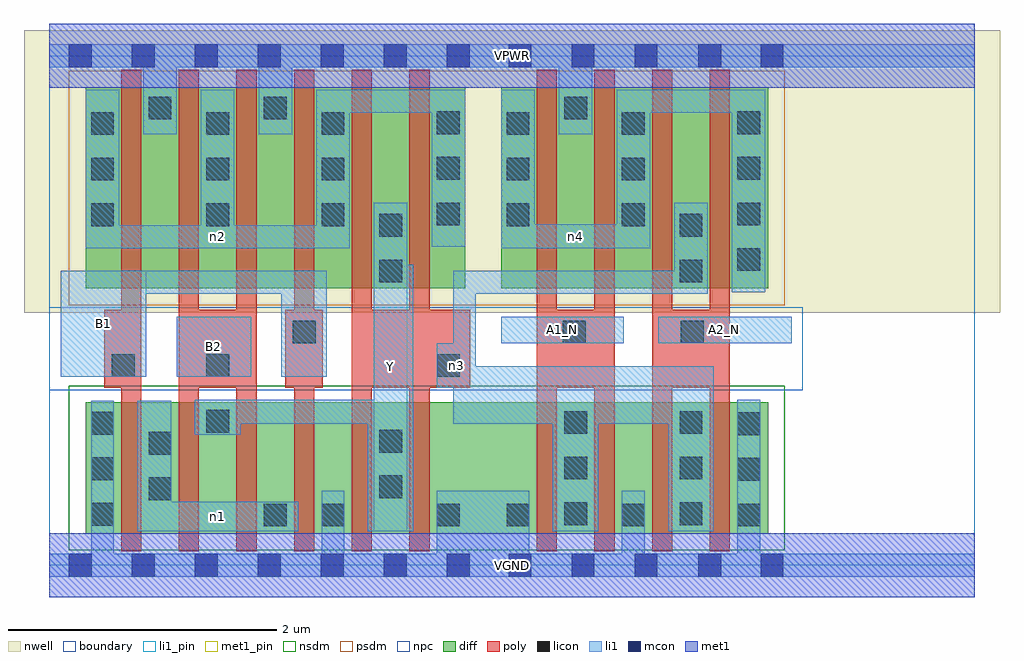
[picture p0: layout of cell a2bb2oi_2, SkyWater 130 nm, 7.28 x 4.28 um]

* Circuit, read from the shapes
.subckt a2bb2oi_2 A1_N A2_N B1 B2 VGND VPWR Y n1 n2 n3 n4
XM1 n1 B1 VGND VSUBS sky130_fd_pr__nfet_01v8 w=0.98 l=0.15 m=2
XM2 Y B2 n1 VSUBS sky130_fd_pr__nfet_01v8 w=0.98 l=0.15 m=2
XM3 Y n3 VGND VSUBS sky130_fd_pr__nfet_01v8 w=0.98 l=0.15 m=2
XM4 n3 A1_N VGND VSUBS sky130_fd_pr__nfet_01v8 w=0.98 l=0.15 m=2
XM5 n3 A2_N VGND VSUBS sky130_fd_pr__nfet_01v8 w=0.98 l=0.15 m=2
XM6 VPWR B1 n2 n5 sky130_fd_pr__pfet_01v8 w=1.5 l=0.15 m=2
XM7 n2 B2 VPWR n5 sky130_fd_pr__pfet_01v8 w=1.5 l=0.15 m=2
XM8 Y n3 n2 n5 sky130_fd_pr__pfet_01v8 w=1.5 l=0.15 m=2
XM9 VPWR A1_N n4 n5 sky130_fd_pr__pfet_01v8 w=1.5 l=0.15 m=2
XM10 n3 A2_N n4 n5 sky130_fd_pr__pfet_01v8 w=1.5 l=0.15 m=2
.ends

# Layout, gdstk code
import gdstk
lib = gdstk.Library(unit=1e-6, precision=1e-09)
def R(c, l, rs):  # rectangles x0, y0, x1, y1
    for r in rs: c.add(gdstk.rectangle(r[:2], r[2:], *l))
def A(c, l, x, y, w, h, nx, ny, dx, dy):  # array of equal rectangles
    R(c, l, [(x+i*dx, y+j*dy, x+i*dx+w, y+j*dy+h) for i in range(nx) for j in range(ny)])
nwell = (64, 20)
diff = (65, 20)
poly = (66, 20)
licon = (66, 44)
li1_pin = (67, 16)
li1 = (67, 20)
mcon = (67, 44)
met1_pin = (68, 16)
met1 = (68, 20)
nsdm = (93, 44)
psdm = (94, 20)
npc = (95, 20)
boundary = (235, 4)

a2bb2oi_2 = lib.new_cell('a2bb2oi_2')
R(a2bb2oi_2, nwell, [(-0.19,1.885,7.09,3.99), (0,1.885,6.9,3.99)])
R(a2bb2oi_2, diff, [(0.27,0.235,5.36,1.215), (0.27,2.065,3.1,3.565), (3.37,2.065,5.36,3.565)])
A(a2bb2oi_2, poly, 0.535, 0.105, 0.15, 3.59, 6, 1, 0.43, 0)
A(a2bb2oi_2, poly, 3.635, 0.105, 0.15, 3.59, 4, 1, 0.43, 0)
R(a2bb2oi_2, poly, [(0.41,1.325,0.685,1.905), (0.965,1.325,1.545,1.905), (1.76,1.325,2.04,1.905), (2.255,1.325,3.14,1.905), (3.635,1.325,4.215,1.905), (4.495,1.325,5.075,1.905)])
A(a2bb2oi_2, licon, 3.41, 0.29, 0.17, 0.17, 3, 1, 0.86, 0)
A(a2bb2oi_2, licon, 0.31, 0.295, 0.17, 0.17, 1, 3, 0, 0.34)
A(a2bb2oi_2, licon, 3.84, 0.3, 0.17, 0.17, 1, 3, 0, 0.34)
A(a2bb2oi_2, licon, 4.7, 0.3, 0.17, 0.17, 1, 3, 0, 0.34)
A(a2bb2oi_2, licon, 5.13, 2.195, 0.17, 0.17, 1, 4, 0, 0.34)
A(a2bb2oi_2, licon, 0.31, 2.53, 0.17, 0.17, 3, 3, 0.86, 0.34)
A(a2bb2oi_2, licon, 3.41, 2.53, 0.17, 0.17, 1, 3, 0, 0.34)
A(a2bb2oi_2, licon, 4.27, 2.53, 0.17, 0.17, 1, 3, 0, 0.34)
A(a2bb2oi_2, licon, 2.89, 2.535, 0.17, 0.17, 1, 3, 0, 0.34)
R(a2bb2oi_2, licon, [(1.6,0.29,1.77,0.46), (2.03,0.29,2.2,0.46), (2.89,0.29,3.06,0.46), (0.74,0.485,0.91,0.655), (2.46,0.5,2.63,0.67), (5.13,0.63,5.3,0.8), (0.74,0.825,0.91,0.995), (2.46,0.84,2.63,1.01), (5.13,0.97,5.3,1.14), (1.17,0.99,1.34,1.16), (0.465,1.405,0.635,1.575), (1.17,1.405,1.34,1.575), (2.89,1.405,3.06,1.575), (1.815,1.655,1.985,1.825), (3.83,1.655,4,1.825), (4.71,1.655,4.88,1.825), (2.46,2.11,2.63,2.28), (4.7,2.11,4.87,2.28), (2.46,2.45,2.63,2.62), (4.7,2.45,4.87,2.62), (0.74,3.325,0.91,3.495), (1.6,3.325,1.77,3.495), (3.84,3.325,4.01,3.495)])
R(a2bb2oi_2, li1_pin, [(2.42,0.255,2.67,2.705), (0.085,1.405,0.72,2.195), (0.95,1.405,1.505,1.855), (3.37,1.655,4.285,1.855), (4.54,1.655,5.535,1.855)])
A(a2bb2oi_2, li1, 0.27, 2.365, 0.25, 1.18, 3, 1, 0.86, 0)
R(a2bb2oi_2, li1, [(0,-0.085,6.9,0.085), (0.31,-0.085,0.48,1.225), (2.03,-0.085,2.2,0.555), (2.89,-0.085,3.58,0.555), (4.27,-0.085,4.44,0.555), (5.13,-0.085,5.3,1.235), (0.655,0.255,1.855,0.475), (0.655,0.255,0.91,1.225), (2.375,0.255,2.715,1.235), (2.42,0.255,2.67,2.705), (2.42,0.255,2.715,2.24), (3.755,0.255,4.095,1.485), (4.615,0.255,4.955,1.485), (1.085,0.975,1.425,1.235), (1.085,1.055,2.715,1.235), (3.01,1.055,4.955,1.485), (3.01,1.055,3.18,2.195), (2.89,1.325,3.18,1.655), (0.085,1.405,0.72,2.195), (0.95,1.405,1.505,1.855), (1.73,1.405,2.07,2.195), (3.37,1.655,4.285,1.855), (4.54,1.655,5.535,1.855), (0.085,2.025,2.07,2.195), (3.01,2.025,4.91,2.195), (4.66,2.025,4.91,2.705), (5.09,2.035,5.34,3.545), (0.27,2.365,2.24,2.535), (3.37,2.365,3.62,3.545), (3.37,2.365,4.48,2.545), (4.23,2.365,4.48,3.545), (2.85,2.375,3.1,3.545), (0.7,3.215,0.95,3.885), (1.56,3.215,1.81,3.885), (3.8,3.215,4.05,3.885), (1.99,3.375,3.1,3.545), (4.23,3.375,5.34,3.545), (0,3.715,6.9,3.885)])
A(a2bb2oi_2, mcon, 0.145, -0.085, 0.17, 0.17, 7, 2, 0.47, 3.8)
A(a2bb2oi_2, mcon, 3.425, -0.085, 0.17, 0.17, 3, 2, 0.47, 3.8)
R(a2bb2oi_2, mcon, [(4.84,-0.085,5.01,0.085), (5.305,-0.085,5.475,0.085), (4.84,3.715,5.01,3.885), (5.305,3.715,5.475,3.885)])
R(a2bb2oi_2, met1_pin, [(0,-0.24,6.9,0.24), (0,3.56,6.9,4.04)])
R(a2bb2oi_2, met1, [(0,-0.24,6.9,0.24), (0,3.56,6.9,4.04)])
R(a2bb2oi_2, nsdm, [(0.145,0.11,5.485,1.34)])
R(a2bb2oi_2, psdm, [(0.145,1.94,5.485,3.69)])
R(a2bb2oi_2, npc, [(0,1.305,5.62,1.925)])
R(a2bb2oi_2, boundary, [(0,0,6.9,3.8)])
a2bb2oi_2.add(gdstk.Label('A1_N', (3.827,1.755), layer=67, texttype=5))
a2bb2oi_2.add(gdstk.Label('A2_N', (5.037,1.755), layer=67, texttype=5))
a2bb2oi_2.add(gdstk.Label('B1', (0.402,1.8), layer=67, texttype=5))
a2bb2oi_2.add(gdstk.Label('B2', (1.227,1.63), layer=67, texttype=5))
a2bb2oi_2.add(gdstk.Label('Y', (2.545,1.48), layer=67, texttype=5))
a2bb2oi_2.add(gdstk.Label('n1', (1.255,0.365), layer=67, texttype=5))
a2bb2oi_2.add(gdstk.Label('n3', (3.035,1.49), layer=67, texttype=5))
a2bb2oi_2.add(gdstk.Label('n2', (1.255,2.45), layer=67, texttype=5))
a2bb2oi_2.add(gdstk.Label('n4', (3.925,2.455), layer=67, texttype=5))
a2bb2oi_2.add(gdstk.Label('VPWR', (3.45,3.8), layer=68, texttype=5))
a2bb2oi_2.add(gdstk.Label('VGND', (3.45,0), layer=68, texttype=5))
a2bb2oi_2.add(gdstk.Label('A1_N', (3.827,1.755), layer=67, texttype=16))
a2bb2oi_2.add(gdstk.Label('A2_N', (5.037,1.755), layer=67, texttype=16))
a2bb2oi_2.add(gdstk.Label('B1', (0.402,1.8), layer=67, texttype=16))
a2bb2oi_2.add(gdstk.Label('B2', (1.227,1.63), layer=67, texttype=16))
a2bb2oi_2.add(gdstk.Label('Y', (2.545,1.48), layer=67, texttype=16))
a2bb2oi_2.add(gdstk.Label('VPWR', (3.45,3.8), layer=68, texttype=16))
a2bb2oi_2.add(gdstk.Label('VGND', (3.45,0), layer=68, texttype=16))

lib.write_gds('a2bb2oi_2.gds')
